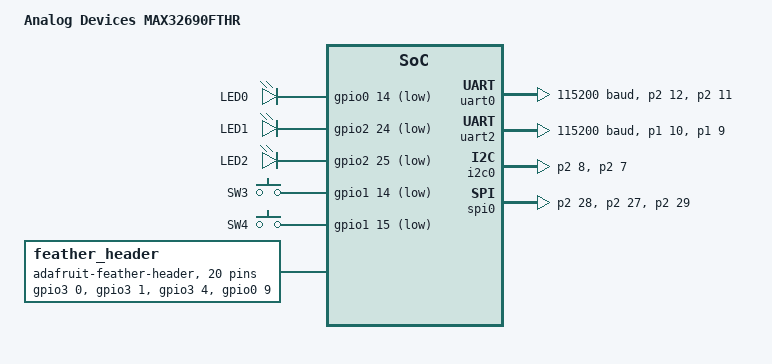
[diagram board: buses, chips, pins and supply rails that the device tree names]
/*
 * Copyright (c) 2023-2024 Analog Devices, Inc.
 *
 * SPDX-License-Identifier: Apache-2.0
 */

/dts-v1/;

#include <adi/max32/max32690.dtsi>
#include <adi/max32/max32690-pinctrl.dtsi>
#include <zephyr/dt-bindings/gpio/adi-max32-gpio.h>
#include <zephyr/dt-bindings/input/input-event-codes.h>

/ {
	model = "Analog Devices MAX32690FTHR";
	compatible = "adi,max32690fthr";

	chosen {
		zephyr,console = &uart0;
		zephyr,shell-uart = &uart0;
		zephyr,sram = &sram0;
		zephyr,flash = &flash0;
	};

	leds {
		compatible = "gpio-leds";
		red_led: led_0 {
			gpios = <&gpio0 14 GPIO_ACTIVE_LOW>;
			label = "LED0";
		};
		green_led: led_1 {
			gpios = <&gpio2 24 GPIO_ACTIVE_LOW>;
			label = "LED1";
		};
		blue_led: led_2 {
			gpios = <&gpio2 25 GPIO_ACTIVE_LOW>;
			label = "LED2";
		};
	};

	buttons {
		compatible = "gpio-keys";
		pb1: pb1 {
			gpios = <&gpio1 14 (GPIO_PULL_UP | GPIO_ACTIVE_LOW)>;
			label = "SW3";
			zephyr,code = <INPUT_KEY_0>;
		};
		pb2: pb2 {
			gpios = <&gpio1 15 (GPIO_PULL_UP | GPIO_ACTIVE_LOW)>;
			label = "SW4";
			zephyr,code = <INPUT_KEY_1>;
		};
	};

	aliases {
		led0 = &red_led;
		led1 = &green_led;
		led2 = &blue_led;
		sw0 = &pb1;
		sw1 = &pb2;
	 };

	feather_header: feather_connector {
		compatible = "adafruit-feather-header";
		#gpio-cells = <2>;
		gpio-map-mask = <0xffffffff 0xffffffc0>;
		gpio-map-pass-thru = <0 0x3f>;
		gpio-map = <0 0 &gpio3 0 0>,	/* A0 */
			   <1 0 &gpio3 1 0>,	/* A1 */
			   <2 0 &gpio3 4 0>,	/* A2 */
			   <3 0 &gpio0 9 0>,	/* A3 */
			   <4 0 &gpio0 10 0>,	/* A4 */
			   <5 0 &gpio0 7 0>,	/* A5 */
			   <6 0 &gpio2 29 0>,	/* SCK */
			   <7 0 &gpio2 28 0>,	/* MOSI */
			   <8 0 &gpio2 27 0>,	/* MISO */
			   <9 0 &gpio1 9 0>,	/* RXD */
			   <10 0 &gpio1 10 0>,	/* TXD */
			   /* 11 (D2) not connected */
			   <12 0 &gpio2 7 0>,	/* SDA */
			   <13 0 &gpio2 8 0>,	/* SCL */
			   <14 0 &gpio1 7 0>,	/* D5 */
			   <15 0 &gpio1 8 0>,	/* D6 */
			   <16 0 &gpio2 26 0>,	/* D9 */
			   <17 0 &gpio0 23 0>,	/* D10 */
			   <18 0 &gpio1 12 0>,	/* D11 */
			   <19 0 &gpio1 11 0>,	/* D12 */
			   <20 0 &gpio0 8 0>;	/* D13 */
	};
};

&clk_ibro {
	status = "okay";
};

&gpio0 {
	status = "okay";
};

&gpio1 {
	status = "okay";
};

&gpio2 {
	status = "okay";
};

&gpio3 {
	status = "okay";
};

&uart0 {
	clock-source = <ADI_MAX32_PRPH_CLK_SRC_IBRO>;
	pinctrl-0 = <&uart0a_tx_p2_12 &uart0a_rx_p2_11>;
	pinctrl-names = "default";
	current-speed = <115200>;
	data-bits = <8>;
	parity = "none";
	status = "okay";
};

feather_serial: &uart2 {
	clock-source = <ADI_MAX32_PRPH_CLK_SRC_IBRO>;
	pinctrl-0 = <&uart2a_tx_p1_10 &uart2a_rx_p1_9>;
	pinctrl-names = "default";
	current-speed = <115200>;
	data-bits = <8>;
	parity = "none";
	status = "okay";
};

feather_i2c: &i2c0 {
	status = "okay";
	pinctrl-0 = <&i2c0a_scl_p2_8 &i2c0a_sda_p2_7>;
	pinctrl-names = "default";
};

feather_spi: &spi0 {
	status = "okay";
	pinctrl-0 = <&spi0b_mosi_p2_28 &spi0b_miso_p2_27 &spi0b_sck_p2_29>;
	pinctrl-names = "default";
};
